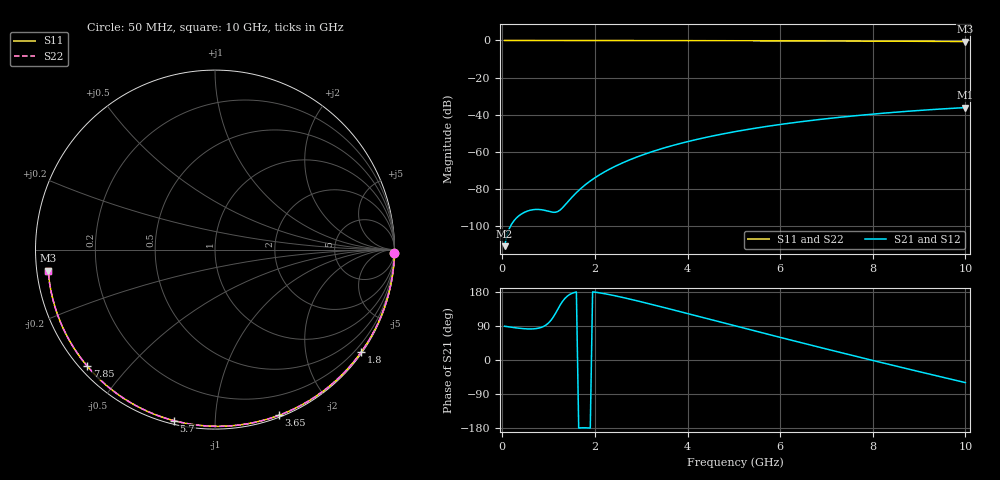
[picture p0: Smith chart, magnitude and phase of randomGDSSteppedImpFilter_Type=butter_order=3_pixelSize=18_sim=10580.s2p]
! freq	dB(S11)	phase(S11)	dB(S12)	phase(S12)
!  dB(S21)	phase(S21)	dB(S22)	phase(S22)
!S-par simulation data
#  GHz  S  DB  R 50
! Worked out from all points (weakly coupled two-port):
!   200 points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, 50 MHz to 10 GHz, reference 50 ohm
!   highest |S21| = -36.14 dB at 10 GHz (marker M1); lowest = -110.8 dB at 50 MHz (marker M2)
!   lowest |S11| = -0.6 dB at 10 GHz (marker M3), VSWR 30.58, Z = 1.64 - j3.14 ohm
!   |S11| at or under -10 dB: nowhere
!   |S22| runs from -0.6 to 0.0 dB; largest |S21 - S12| = 0
!   S11 on the Smith chart (normalised r, x): 50 MHz: open; 1.8 GHz: 0.03, -3.17; 3.65 GHz: 0.02, -1.46; 5.7 GHz: 0.02, -0.79; 7.85 GHz: 0.02, -0.39; 10 GHz: 0.03, -0.06
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0.05  -0.00 -1.0  -110.75 89.1  -110.75 89.1  -0.00 -1.0
0.45  -0.01 -8.9  -92.88 82.8  -92.88 82.8  -0.01 -8.9
0.85  -0.02 -16.7  -91.15 86.4  -91.15 86.4  -0.02 -16.7
1.65  -0.04 -32.1  -80.75 -179.5  -80.75 -179.5  -0.04 -32.1
1.7  -0.04 -33.1  -79.62 -179.0  -79.62 -179.0  -0.04 -33.1
1.75  -0.04 -34.0  -78.55 -178.8  -78.55 -178.8  -0.04 -34.0
1.8  -0.04 -35.0  -77.54 -178.9  -77.54 -178.9  -0.04 -35.0
2.1  -0.05 -40.6  -72.34 177.3  -72.34 177.3  -0.05 -40.6
2.45  -0.06 -47.2  -67.61 169.1  -67.61 169.1  -0.06 -47.2
2.9  -0.07 -55.4  -62.81 156.5  -62.81 156.5  -0.07 -55.4
3.4  -0.09 -64.4  -58.57 141.3  -58.57 141.3  -0.09 -64.4
3.65  -0.09 -68.9  -56.75 133.6  -56.75 133.6  -0.09 -68.9
4.35  -0.12 -81.0  -52.44 111.5  -52.44 111.5  -0.12 -81.0
5.05  -0.14 -92.8  -48.98 89.4  -48.98 89.4  -0.14 -92.8
5.7  -0.17 -103.5  -46.32 69.1  -46.32 69.1  -0.17 -103.5
6.2  -0.20 -111.6  -44.55 53.5  -44.55 53.5  -0.20 -111.6
6.7  -0.23 -119.5  -42.98 38.1  -42.98 38.1  -0.23 -119.5
7.25  -0.27 -128.2  -41.46 21.4  -41.46 21.4  -0.27 -128.2
7.85  -0.32 -137.7  -39.99 3.3  -39.99 3.3  -0.32 -137.7
8.35  -0.37 -145.7  -38.91 -11.6  -38.91 -11.6  -0.37 -145.7
9.2  -0.47 -159.4  -37.34 -36.5  -37.34 -36.5  -0.47 -159.4
10  -0.57 -172.8  -36.14 -59.7  -36.14 -59.7  -0.57 -172.8
